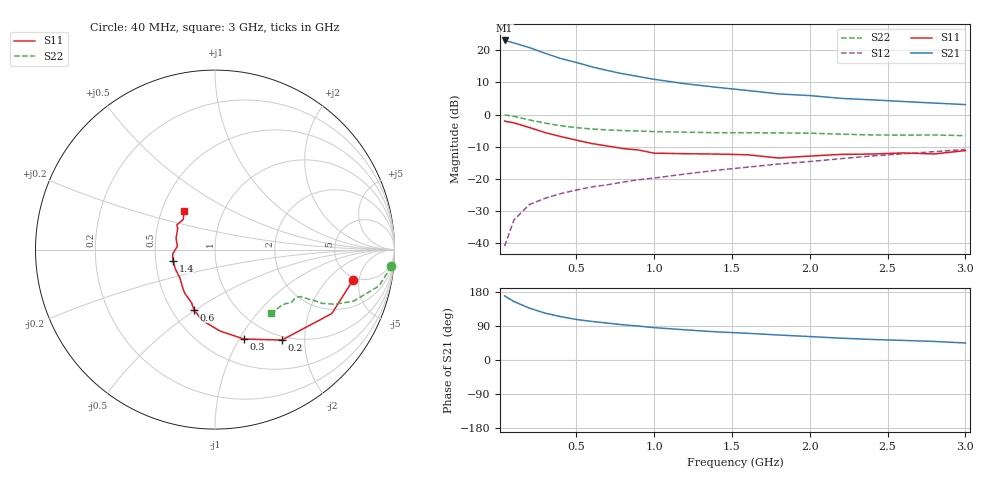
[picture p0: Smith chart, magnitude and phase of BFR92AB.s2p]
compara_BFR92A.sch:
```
<Qucs Schematic 0.0.20>
<Properties>
  <View=0,-17,1907,815,1,0,0>
  <Grid=10,10,1>
  <DataSet=compara_BFR92A.dat>
  <DataDisplay=compara_BFR92A.dpl>
  <OpenDisplay=1>
  <Script=compara_BFR92A.m>
  <RunScript=0>
  <showFrame=0>
  <FrameText0=Título>
  <FrameText1=Dibujado por:>
  <FrameText2=Fecha:>
  <FrameText3=Revisión:>
</Properties>
<Symbol>
</Symbol>
<Components>
  <.DC DC1 1 60 310 0 39 0 0 "26.85" 0 "0.001" 0 "1 pA" 0 "1 uV" 0 "no" 0 "150" 0 "no" 0 "none" 0 "CroutLU" 0>
  <Vdc V1 1 570 260 18 -26 0 1 "3.3 V" 1>
  <GND *1 5 570 290 0 0 0 0>
  <GND *2 5 770 490 0 0 0 0>
  <GND *3 5 630 490 0 0 0 0>
  <Vdc V2 1 470 450 18 -26 0 1 "0.86 V" 1>
  <GND *4 5 470 490 0 0 0 0>
  <GND *5 5 340 490 0 0 0 0>
  <IProbe Pr1 1 610 170 -26 16 0 0>
  <BiasT X1 1 470 360 -26 34 0 0 "100 uH" 0 "100 uF" 0>
  <BiasT X2 1 650 360 -26 -53 0 2 "100 uH" 0 "100 uF" 0>
  <.SP SP1 1 60 400 0 63 0 0 "lin" 1 "100 MHz" 1 "3 GHz" 1 "1000" 1 "no" 0 "1" 0 "2" 0 "no" 0 "no" 0>
  <GND *6 5 500 670 0 0 0 0>
  <Pac P4 1 620 700 18 -26 0 1 "4" 1 "50 Ohm" 1 "0 dBm" 0 "1 GHz" 0 "26.85" 0>
  <GND *7 5 620 770 0 0 0 0>
  <Pac P3 1 370 700 18 -26 0 1 "3" 1 "50 Ohm" 1 "0 dBm" 0 "1 GHz" 0 "26.85" 0>
  <GND *8 5 370 770 0 0 0 0>
  <Pac P1 1 340 420 18 -26 0 1 "1" 1 "50 Ohm" 1 "-110 dBm" 0 "1 GHz" 0 "26.85" 0>
  <Pac P2 1 770 420 18 -26 0 1 "2" 1 "50 Ohm" 1 "-100 dBm" 0 "1 GHz" 0 "26.85" 0>
  <Sub SUB1 1 570 390 -26 51 1 2 "BFR92A_v1.sch" 1>
  <SPfile X3 1 500 640 -26 -59 0 0 "BFR92AB.s2p" 1 "rectangular" 0 "linear" 0 "open" 0 "2" 0>
</Components>
<Wires>
  <500 360 540 360 "" 0 0 0 "">
  <600 360 620 360 "" 0 0 0 "">
  <680 360 770 360 "" 0 0 0 "">
  <770 360 770 390 "" 0 0 0 "">
  <770 450 770 490 "" 0 0 0 "">
  <600 420 630 420 "" 0 0 0 "">
  <630 420 630 490 "" 0 0 0 "">
  <470 390 470 420 "" 0 0 0 "">
  <470 480 470 490 "" 0 0 0 "">
  <340 360 440 360 "" 0 0 0 "">
  <340 360 340 390 "" 0 0 0 "">
  <340 450 340 490 "" 0 0 0 "">
  <650 170 650 330 "" 0 0 0 "">
  <640 170 650 170 "" 0 0 0 "">
  <570 170 570 230 "" 0 0 0 "">
  <570 170 580 170 "" 0 0 0 "">
  <530 640 620 640 "" 0 0 0 "">
  <620 640 620 670 "" 0 0 0 "">
  <620 730 620 770 "" 0 0 0 "">
  <370 640 470 640 "" 0 0 0 "">
  <370 640 370 670 "" 0 0 0 "">
  <370 730 370 770 "" 0 0 0 "">
</Wires>
<Diagrams>
  <Smith 240 270 200 200 3 #c0c0c0 1 00 1 0 1 1 1 0 4 1 1 0 1 1 315 0 225 "" "" "" "">
	<"S[1,1]" #0000ff 0 3 0 0 0>
	  <Mkr 8.66366e+08 -101 -207 3 0 0 1>
	<"S[2,2]" #ff0000 0 3 0 0 0>
	  <Mkr 8.28629e+08 211 -200 3 0 0 1>
  </Smith>
  <Smith 740 260 200 200 3 #c0c0c0 1 00 1 0 1 1 1 0 4 1 1 0 1 1 315 0 225 "" "" "" "">
	<"S[1,1]" #0000ff 0 3 0 0 0>
	  <Mkr 8.66366e+08 -101 -207 3 0 0 1>
	<"S[2,2]" #ff0000 0 3 0 0 0>
	  <Mkr 8.28629e+08 211 -200 3 0 0 1>
	<"S[3,3]" #ff00ff 0 3 0 0 0>
	<"S[4,4]" #00ff00 0 3 0 0 0>
  </Smith>
</Diagrams>
<Paintings>
</Paintings>
```
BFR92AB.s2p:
! Filename:  BFR92AB.S2P  Version:  2.0
! Philips part #: BFR92A  Date: May 1990
! Bias condition: Vce=5V, Ic=5mA
#  MHz  S  MA  R  50
! Freq  S11  S21  S12  S22  !GUM [dB]
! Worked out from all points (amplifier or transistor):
!   21 points, 40 MHz to 3 GHz, reference 50 ohm
!   highest |S21| = 23.0 dB at 40 MHz (marker M1)
!   |S21| within 3 dB of that: start of sweep to 244 MHz
!   unconditionally stable (mu >= 1): 1.159 GHz to 2.835 GHz
!   at 300 MHz: K = 0.51, MSG = 22.5 dB, |S12| = -26.0 dB
!   at 1 GHz: K = 0.98, MSG = 15.3 dB, |S12| = -19.7 dB
!   at 3 GHz: K = 0.98, MSG = 7.0 dB, |S12| = -10.9 dB
!   S11 on the Smith chart (normalised r, x): 40 MHz: 4.71, -4.16; 200 MHz: 0.94, -1.56; 300 MHz: 0.76, -1.05; 600 MHz: 0.64, -0.49; 1.4 GHz: 0.62, -0.08; 3 GHz: 0.65, +0.30
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40  0.789 -12.2  14.15 169.0  0.009 85.7  0.987 -5.4
100  0.742 -28.7  12.94 154.2  0.023 74.9  0.936 -12.5
200  0.627 -53.5  10.95 136.7  0.04 66.9  0.824 -20.4
300  0.524 -72.0  8.943 123.7  0.05 62.6  0.736 -24.4
400  0.455 -86.4  7.427 114.4  0.059 60.9  0.67 -26.6
500  0.4 -100.5  6.449 107.0  0.067 60.8  0.625 -27.1
600  0.354 -109.4  5.509 101.8  0.075 62.4  0.596 -27.8
1000  0.251 -141.5  3.524 85.4  0.103 67.3  0.543 -28.8
1400  0.243 -165.3  2.651 74.3  0.136 69.1  0.521 -31.5
1600  0.237 -174.0  2.363 70.5  0.152 71.0  0.52 -32.6
3000  0.275 129.0  1.427 44.9  0.286 70.2  0.469 -48.4
